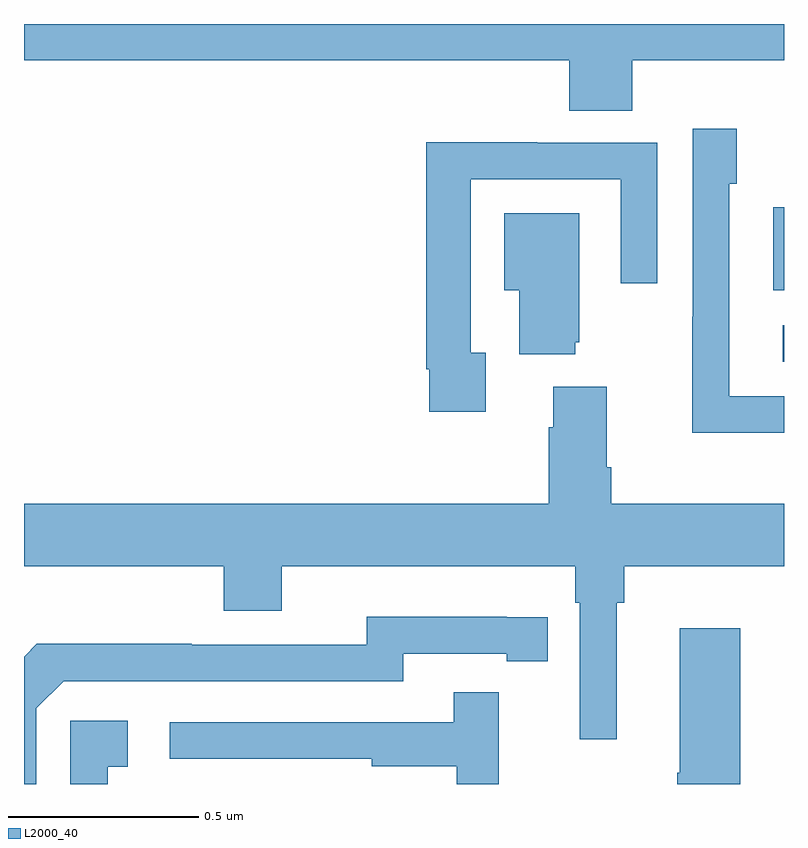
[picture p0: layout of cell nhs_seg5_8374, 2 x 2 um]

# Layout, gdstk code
import gdstk
lib = gdstk.Library(unit=1e-6, precision=1e-09)
def R(c, l, rs):  # rectangles x0, y0, x1, y1
    for r in rs: c.add(gdstk.rectangle(r[:2], r[2:], *l))
def P(c, l, *ps):  # polygons
    for p in ps: c.add(gdstk.Polygon(p, *l))
L2000_40 = (2000, 40)

nhs_seg5_8374 = lib.new_cell('nhs_seg5_8374')
R(nhs_seg5_8374, L2000_40, [(221.997,911.91,222,912.006), (221.972,912.098,222,912.317)])
P(nhs_seg5_8374, L2000_40, [(221.6,912.704),(222,912.704),(222,912.799),(220,912.799),(220,912.704),(221.435,912.704),(221.435,912.571),(221.6,912.571)],
  [(222,911.82),(221.856,911.82),(221.856,912.378),(221.875,912.378),(221.875,912.523),(221.76,912.523),(221.76,912.029),(221.758,912.029),(221.758,911.723),(222,911.723)],
  [(221.215,911.934),(221.175,911.934),(221.175,912.39),(221.571,912.39),(221.571,912.117),(221.667,912.117),(221.667,912.486),(221.351,912.486),(221.351,912.488),(221.059,912.488),(221.059,911.89),(221.067,911.89),(221.067,911.778),(221.215,911.778)],
  [(221.45,911.961),(221.461,911.961),(221.461,912.301),(221.264,912.301),(221.264,912.098),(221.303,912.098),(221.303,911.93),(221.45,911.93)],
  [(221.56,911.276),(221.579,911.276),(221.579,911.372),(222,911.372),(222,911.536),(221.546,911.536),(221.546,911.632),(221.533,911.632),(221.533,911.845),(221.393,911.845),(221.393,911.738),(221.381,911.738),(221.381,911.536),(220,911.536),(220,911.372),(220.526,911.372),(220.526,911.255),(220.678,911.255),(220.678,911.372),(221.45,911.372),(221.45,911.276),(221.463,911.276),(221.463,910.917),(221.56,910.917)],
  [(220.032,910.998),(220.104,911.07),(220.998,911.07),(220.998,911.142),(221.27,911.142),(221.27,911.122),(221.378,911.122),(221.378,911.238),(221.27,911.238),(221.27,911.239),(220.902,911.239),(220.902,911.166),(220.442,911.166),(220.442,911.168),(220.034,911.168),(220,911.134),(220,910.799),(220.032,910.799)],
  [(221.885,911.209),(221.726,911.209),(221.726,910.829),(221.719,910.829),(221.719,910.799),(221.885,910.799)],
  [(221.249,911.041),(221.131,911.041),(221.131,910.962),(220.383,910.962),(220.383,910.866),(220.915,910.866),(220.915,910.846),(221.139,910.846),(221.139,910.799),(221.249,910.799)],
  [(220.22,910.845),(220.273,910.845),(220.273,910.966),(220.122,910.966),(220.122,910.799),(220.22,910.799)])

lib.write_gds('nhs_seg5_8374.gds')
